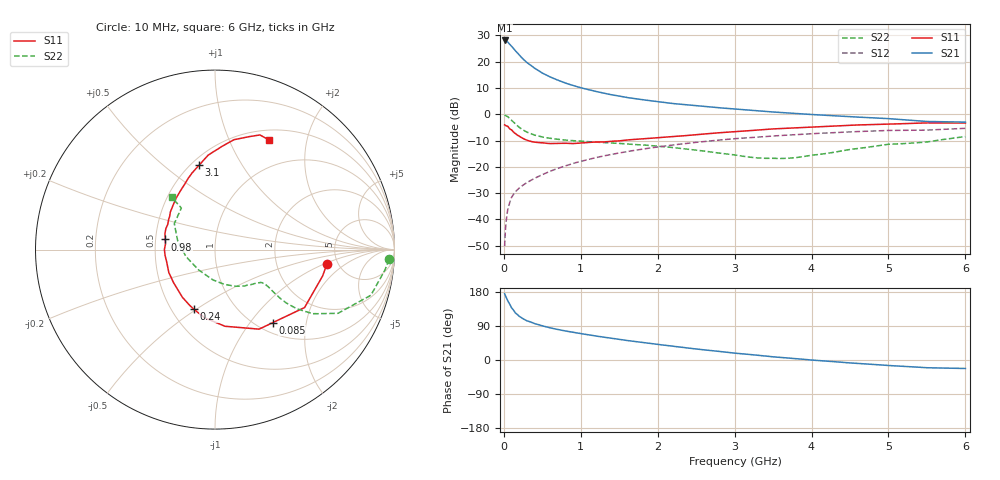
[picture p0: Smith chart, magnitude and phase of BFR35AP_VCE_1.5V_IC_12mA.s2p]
! Infineon Technologies  Discrete & RF Semiconductors
! BFR35AP
! VCE =  1.5 V,  IC =  12 mA
! Common Emitter S-Parameters:  Nov 2015
# GHz  S  MA  R  50
!  f  S11  S21  S12  S22
! GHz  MAG  ANG  MAG  ANG  MAG  ANG  MAG  ANG
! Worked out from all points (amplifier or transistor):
!   210 points, 10 MHz to 6 GHz, reference 50 ohm
!   highest |S21| = 28.1 dB at 10 MHz (marker M1)
!   |S21| within 3 dB of that: start of sweep to 124.2 MHz
!   unconditionally stable (mu >= 1): 460.9 MHz to 4.296 GHz; 5.175 GHz to end of sweep
!   at 185 MHz: K = 0.64, MSG = 25.8 dB, |S12| = -28.5 dB
!   at 1.52 GHz: K = 1.14, MAG = 8.5 dB, |S12| = -14.6 dB
!   at 6 GHz: K = 1.00, MAG = 0.8 dB, |S12| = -5.3 dB
!   S11 on the Smith chart (normalised r, x): 10 MHz: 4.10, -1.07; 85 MHz: 1.17, -1.30; 240 MHz: 0.64, -0.49; 980 MHz: 0.56, +0.07; 3.1 GHz: 0.55, +0.67; 6 GHz: 0.62, +1.42
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0.01  0.629 -7.2  25.38 175.0  0.0031 86.7  0.9707 -3.2
0.02  0.6173 -13.8  25.2 169.8  0.0061 83.9  0.9541 -6.8
0.05  0.5944 -32.9  23.79 156.2  0.0151 76.3  0.905 -16.3
0.085  0.5188 -51.7  20.81 144.0  0.0228 68.4  0.8082 -23.7
0.1  0.5067 -61.0  19.87 137.8  0.0262 66.4  0.7716 -27.4
0.15  0.4308 -82.6  16.2 124.1  0.0335 61.6  0.6507 -33.3
0.2  0.3837 -98.8  13.38 115.3  0.0395 60.8  0.5644 -35.8
0.24  0.3528 -109.4  11.65 110.1  0.0439 60.5  0.5148 -36.6
0.3  0.3219 -124.3  9.655 103.4  0.0502 61.2  0.4583 -36.8
0.4  0.2955 -141.3  7.518 96.0  0.0604 62.5  0.4018 -36.0
0.5  0.2872 -153.6  6.088 90.0  0.0711 63.7  0.3689 -35.1
0.6  0.2778 -164.5  5.153 84.9  0.0824 64.1  0.3488 -34.7
0.7  0.2802 -173.4  4.465 80.5  0.0933 64.5  0.3342 -34.8
0.8  0.2818 179.8  3.924 76.6  0.1044 64.3  0.3227 -35.0
0.98  0.2826 168.5  3.262 70.4  0.1251 63.6  0.3096 -36.4
1.02  0.2857 166.2  3.145 69.1  0.1295 63.4  0.307 -36.9
1.4  0.3075 147.4  2.35 57.4  0.1726 60.3  0.2848 -42.5
2.02  0.361 126.5  1.719 40.7  0.2412 53.4  0.2456 -56.1
3.1  0.4777 100.8  1.224 16.4  0.3516 39.0  0.1599 -100.2
4.1  0.5827 85.2  0.972 -1.5  0.4346 25.3  0.1725 -173.2
5.1  0.6568 73.3  0.807 -15.6  0.4937 11.3  0.2725 143.4
6  0.6812 63.7  0.71 -22.4  0.5406 1.6  0.3769 129.6
